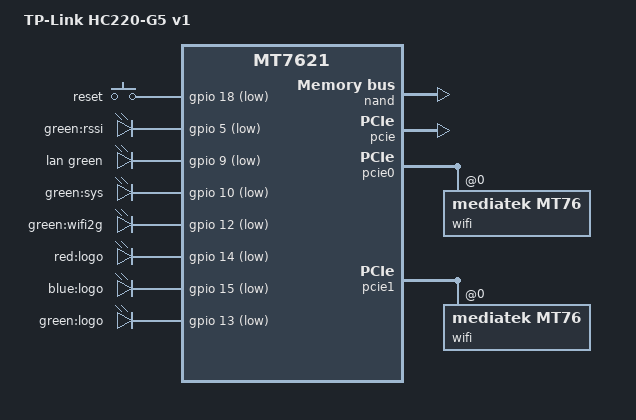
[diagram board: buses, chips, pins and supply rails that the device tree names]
// SPDX-License-Identifier: GPL-2.0-or-later OR MIT

#include "mt7621.dtsi"

#include <dt-bindings/gpio/gpio.h>
#include <dt-bindings/input/input.h>
#include <dt-bindings/leds/common.h>

/ {
	compatible = "tplink,hc220-g5-v1", "mediatek,mt7621-soc";
	model = "TP-Link HC220-G5 v1";

	aliases {
		label-mac-device = &gmac0;
		led-boot = &led_power;
		led-failsafe = &led_power;
		led-running = &led_power;
		led-upgrade = &led_power;
	};

	chosen {
		bootargs = "console=ttyS0,115200n8";
	};

	keys {
		compatible = "gpio-keys-polled";
		poll-interval = <20>;

		reset {
			label = "reset";
			gpios = <&gpio 18 GPIO_ACTIVE_LOW>;
			linux,code = <KEY_RESTART>;
		};
	};

	leds {
		compatible = "gpio-leds";

		rssi {
			label = "green:rssi";
			gpios = <&gpio 5 GPIO_ACTIVE_LOW>;
		};

		lan {
			function = LED_FUNCTION_LAN;
			color = <LED_COLOR_ID_GREEN>;
			gpios = <&gpio 9 GPIO_ACTIVE_LOW>;
		};

		sys {
			label = "green:sys";
			gpios = <&gpio 10 GPIO_ACTIVE_LOW>;
		};

		wifi2g {
			label = "green:wifi2g";
			gpios = <&gpio 12 GPIO_ACTIVE_LOW>;
			linux,default-trigger = "phy0tpt";
		};

		logo_red {
			label = "red:logo";
			gpios = <&gpio 14 GPIO_ACTIVE_LOW>;
			/* match usage in v1 and v2 */
			linux,default-trigger = "phy0tpt";
		};

		logo_blue {
			label = "blue:logo";
			gpios = <&gpio 15 GPIO_ACTIVE_LOW>;
			/* match usage in v1 and v2 */
			linux,default-trigger = "phy1tpt";

		};

		led_power: logo_green {
			label = "green:logo";
			gpios = <&gpio 13 GPIO_ACTIVE_LOW>;
			/* match usage in v1 and v2 */
			default_state = "on";
		};
	};
};

&state_default {
	gpio {
		groups = "i2c", "uart2", "uart3", "jtag", "wdt";
		function = "gpio";
	};
};

&nand {
	status = "okay";

	mediatek,nmbm;
	/* rsvd = Remapping Range / NAND Erase-Size */
	/* rsvd = 0x800000 / 0x20000 */
	mediatek,bmt-max-reserved-blocks = <64>;
	/* Remapping should include raw-nand we operate upon without UBI layer. */
	/* This includes (at least) the kernel which has to be loaded by U-Boot.*/
	mediatek,bmt-remap-range =
		<0x0 0x980000>;

	partitions {
		compatible = "fixed-partitions";
		#address-cells = <1>;
		#size-cells = <1>;

		partition@0 {
			label = "boot";
			reg = <0x0 0x80000>;
			read-only;
		};

		partition@80000 {
			label = "boot_env";
			reg = <0x80000 0x80000>;
		};

		partition@100000 {
			label = "misc_ro";
			reg = <0x100000 0x600000>;
		};

		partition@700000 {
			label = "misc_rw";
			reg = <0x700000 0x600000>;
		};

		partition@d00000 {
			label = "firmware1";
			reg = <0xd00000 0x1600000>;
		};

		partition@2300000 {
			label = "firmware2";
			reg = <0x2300000 0x1600000>;
		};

		partition@3900000 {
			label = "bflag";
			reg = <0x3900000 0x600000>;
		};

		partition@3f00000 {
			label = "misc_rw_bak";
			reg = <0x3f00000 0x600000>;
		};

		partition@4500000 {
			label = "misc_isp";
			reg = <0x4500000 0x600000>;
		};

		partition@w {
			label = "whole";
			reg = <0x00 0x7800000>;
		};
	};
};

&ethernet {
	pinctrl-names = "default";
	pinctrl-0 = <&rgmii1_pins &mdio_pins>;
};

&gmac0 {
	/* nvmem-cells = <&macaddr_config_8>; */
	/* nvmem-cell-names = "mac-address"; */
	label = "dsa";
};

&switch0 {
	ports {
		port@0 {
			status = "okay";
			label = "eth0";
		};

		port@1 {
			status = "okay";
			label = "eth1";
		};
	};
};

&pcie {
	status = "okay";
};

&pcie0 {
	wifi@0,0 {
		compatible = "mediatek,mt76";
		reg = <0x0000 0 0 0 0>;
		/* nvmem-cells = <&eeprom_radio_0>; */
		/* nvmem-cell-names = "eeprom"; */
		ieee80211-freq-limit = <2400000 2500000>;
	};
};

&pcie1 {
	wifi@0,0 {
		compatible = "mediatek,mt76";
		reg = <0x0000 0 0 0 0>;
		/* nvmem-cells = <&eeprom_radio_8000>; */
		/* vmem-cell-names = "eeprom"; */
		ieee80211-freq-limit = <5000000 6000000>;
	};
};
